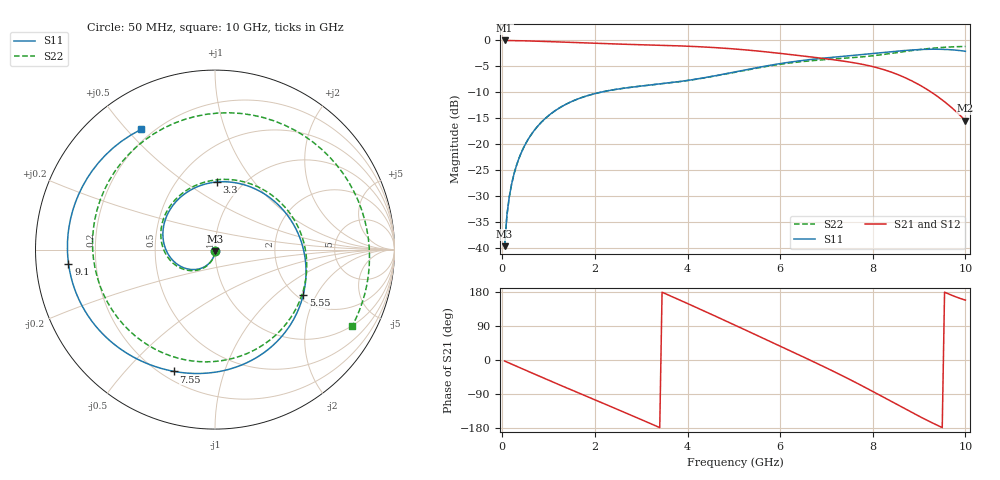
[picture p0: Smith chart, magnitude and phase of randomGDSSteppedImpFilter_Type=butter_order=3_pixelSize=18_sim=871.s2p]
! freq	dB(S11)	phase(S11)	dB(S12)	phase(S12)
!  dB(S21)	phase(S21)	dB(S22)	phase(S22)
!S-par simulation data
#  GHz  S  DB  R 50
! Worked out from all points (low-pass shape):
!   200 points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, 50 MHz to 10 GHz, reference 50 ohm
!   highest |S21| = -0.01 dB at 50 MHz (marker M1); lowest = -15.4 dB at 10 GHz (marker M2)
!   |S21| within 3 dB of the highest: start of sweep to 6.501 GHz
!   lowest |S11| = -39.6 dB at 50 MHz (marker M3), VSWR 1.02, Z = 50 - j1.05 ohm
!   |S11| at or under -10 dB: start of sweep to 2.109 GHz
!   |S22| runs from -39.6 to -1.2 dB; largest |S21 - S12| = 0
!   S11 on the Smith chart (normalised r, x): 50 MHz: 1.00, -0.02; 3.3 GHz: 0.76, +0.67; 5.55 GHz: 2.16, -1.57; 7.55 GHz: 0.25, -0.69; 9.1 GHz: 0.10, -0.05; 10 GHz: 0.16, +0.55
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0.05  -39.59 -92.0  -0.01 -2.7  -0.01 -2.7  -39.59 -91.9
0.1  -33.64 -95.1  -0.01 -5.4  -0.01 -5.4  -33.64 -94.8
0.2  -27.69 -101.1  -0.02 -10.8  -0.02 -10.8  -27.69 -100.5
0.5  -19.94 -118.1  -0.08 -26.8  -0.08 -26.8  -19.94 -116.5
1.15  -13.46 -153.8  -0.27 -61.1  -0.27 -61.1  -13.47 -149.9
1.75  -10.88 173.7  -0.48 -92.2  -0.48 -92.2  -10.89 -179.8
2.6  -9.22 127.4  -0.73 -136.2  -0.73 -136.2  -9.23 138.6
3.3  -8.48 88.7  -0.90 -173.1  -0.90 -173.1  -8.49 103.6
3.4  -8.38 83.1  -0.92 -178.4  -0.92 -178.4  -8.40 98.5
4.35  -7.19 31.8  -1.26 129.7  -1.26 129.7  -7.23 46.6
5.05  -6.02 -3.5  -1.67 90.5  -1.67 90.5  -6.07 4.1
5.55  -5.15 -27.1  -2.07 62.1  -2.07 62.1  -5.24 -28.3
6.2  -4.19 -55.9  -2.69 25.2  -2.69 25.2  -4.35 -72.8
6.7  -3.63 -76.4  -3.22 -3.4  -3.22 -3.4  -3.88 -109.5
7.1  -3.27 -91.9  -3.66 -26.9  -3.66 -26.9  -3.61 -141.2
7.55  -2.90 -108.6  -4.23 -54.3  -4.23 -54.3  -3.33 179.8
7.95  -2.57 -123.4  -4.93 -79.7  -4.93 -79.7  -3.00 142.1
8.35  -2.21 -139.2  -5.94 -106.0  -5.94 -106.0  -2.56 103.1
8.7  -1.93 -154.5  -7.17 -129.1  -7.17 -129.1  -2.12 69.9
9.1  -1.72 -174.6  -9.04 -154.7  -9.04 -154.7  -1.66 34.9
9.6  -1.75 154.5  -12.16 176.3  -12.16 176.3  -1.29 -3.1
10  -2.09 121.5  -15.43 158.1  -15.43 158.1  -1.16 -29.0
